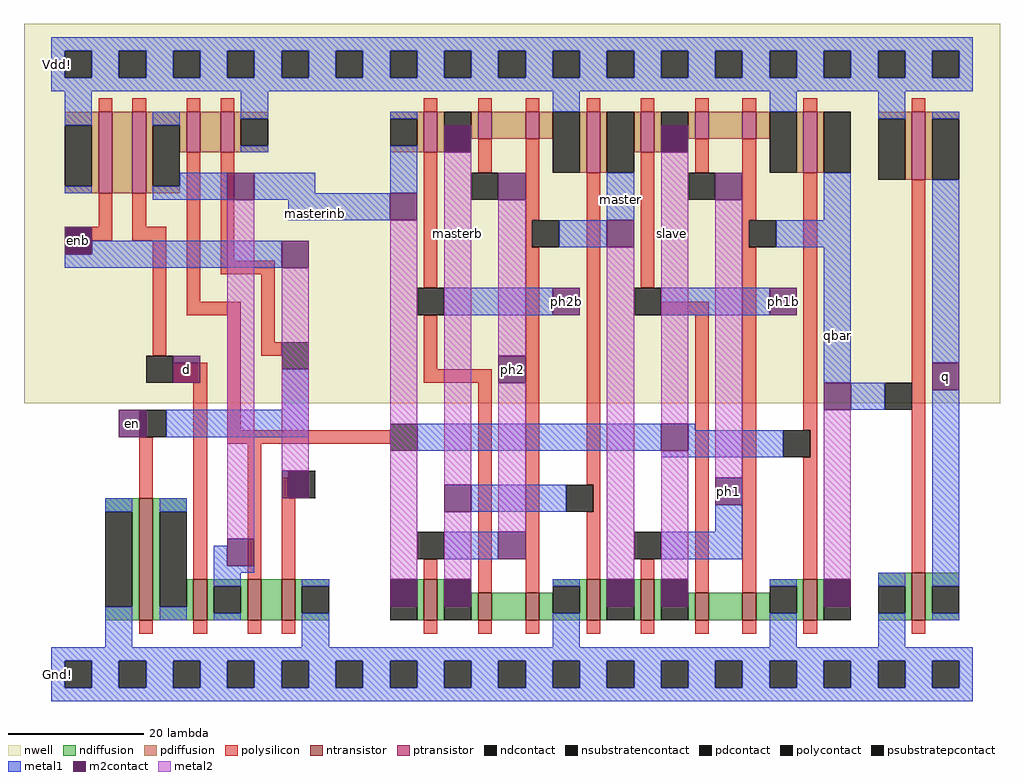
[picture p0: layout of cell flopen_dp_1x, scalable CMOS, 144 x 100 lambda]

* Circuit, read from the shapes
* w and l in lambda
.subckt flopen_dp_1x Gnd! Vdd! d en enb master masterb masterinb ph1 ph1b ph2 ph2b q qbar slave
M1 n1 en Gnd! Gnd! nfet w=18 l=2
M2 masterinb d n1 Gnd! nfet w=6 l=2
M3 n2 slave masterinb Gnd! nfet w=6 l=2
M4 Gnd! enb n2 Gnd! nfet w=6 l=2
M5 masterb ph2 masterinb Gnd! nfet w=6 l=2
M6 n3 ph2b masterb Gnd! nfet w=4 l=2
M7 Gnd! master n3 Gnd! nfet w=4 l=2
M8 master masterb Gnd! Gnd! nfet w=6 l=2
M9 slave ph1 master Gnd! nfet w=6 l=2
M10 n4 ph1b slave Gnd! nfet w=4 l=2
M11 Gnd! qbar n4 Gnd! nfet w=4 l=2
M12 qbar slave Gnd! Gnd! nfet w=6 l=2
M13 q qbar Gnd! Gnd! nfet w=7 l=2
M14 n5 enb Vdd! Vdd! pfet w=12 l=2
M15 masterinb d n5 Vdd! pfet w=12 l=2
M16 n6 slave masterinb Vdd! pfet w=6 l=2
M17 Vdd! en n6 Vdd! pfet w=6 l=2
M18 masterb ph2b masterinb Vdd! pfet w=6 l=2
M19 n7 ph2 masterb Vdd! pfet w=4 l=2
M20 Vdd! master n7 Vdd! pfet w=4 l=2
M21 master masterb Vdd! Vdd! pfet w=9 l=2
M22 slave ph1b master Vdd! pfet w=6 l=2
M23 n8 ph1 slave Vdd! pfet w=4 l=2
M24 Vdd! qbar n8 Vdd! pfet w=4 l=2
M25 qbar slave Vdd! Vdd! pfet w=9 l=2
M26 q qbar Vdd! Vdd! pfet w=10 l=2
.ends

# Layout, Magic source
magic
tech scmos
<< nwell >>
rect -6 40 138 96
<< ntransistor >>
rect 11 8 13 26
rect 19 8 21 14
rect 27 8 29 14
rect 32 8 34 14
rect 53 8 55 14
rect 61 8 63 12
rect 68 8 70 12
rect 77 8 79 14
rect 85 8 87 14
rect 93 8 95 12
rect 100 8 102 12
rect 109 8 111 14
rect 125 8 127 15
<< ptransistor >>
rect 5 71 7 83
rect 10 71 12 83
rect 18 77 20 83
rect 23 77 25 83
rect 53 77 55 83
rect 61 79 63 83
rect 68 79 70 83
rect 77 74 79 83
rect 85 77 87 83
rect 93 79 95 83
rect 100 79 102 83
rect 109 74 111 83
rect 125 73 127 83
<< ndiffusion >>
rect 6 24 11 26
rect 10 10 11 24
rect 6 8 11 10
rect 13 24 18 26
rect 13 10 14 24
rect 18 10 19 14
rect 13 8 19 10
rect 21 13 27 14
rect 21 9 22 13
rect 26 9 27 13
rect 21 8 27 9
rect 29 8 32 14
rect 34 13 39 14
rect 34 9 35 13
rect 34 8 39 9
rect 52 8 53 14
rect 55 8 56 14
rect 72 13 77 14
rect 60 8 61 12
rect 63 8 68 12
rect 70 9 72 12
rect 76 9 77 13
rect 70 8 77 9
rect 79 8 80 14
rect 84 8 85 14
rect 87 8 88 14
rect 104 13 109 14
rect 92 8 93 12
rect 95 8 100 12
rect 102 9 104 12
rect 108 9 109 13
rect 102 8 109 9
rect 111 8 112 14
rect 120 13 125 15
rect 124 9 125 13
rect 120 8 125 9
rect 127 13 132 15
rect 127 9 128 13
rect 127 8 132 9
<< pdiffusion >>
rect 0 81 5 83
rect 4 72 5 81
rect 0 71 5 72
rect 7 71 10 83
rect 12 81 18 83
rect 12 72 13 81
rect 17 77 18 81
rect 20 77 23 83
rect 25 82 30 83
rect 25 78 26 82
rect 25 77 30 78
rect 48 82 53 83
rect 52 78 53 82
rect 48 77 53 78
rect 55 77 56 83
rect 60 79 61 83
rect 63 79 68 83
rect 70 79 72 83
rect 12 71 17 72
rect 76 74 77 83
rect 79 74 80 83
rect 84 77 85 83
rect 87 77 88 83
rect 92 79 93 83
rect 95 79 100 83
rect 102 79 104 83
rect 108 74 109 83
rect 111 74 112 83
rect 120 82 125 83
rect 124 73 125 82
rect 127 82 132 83
rect 127 73 128 82
<< ndcontact >>
rect 6 10 10 24
rect 14 10 18 24
rect 22 9 26 13
rect 35 9 39 13
rect 48 8 52 14
rect 56 8 60 14
rect 72 9 76 13
rect 80 8 84 14
rect 88 8 92 14
rect 104 9 108 13
rect 112 8 116 14
rect 120 9 124 13
rect 128 9 132 13
<< pdcontact >>
rect 0 72 4 81
rect 13 72 17 81
rect 26 78 30 82
rect 48 78 52 82
rect 56 77 60 83
rect 72 74 76 83
rect 80 74 84 83
rect 88 77 92 83
rect 104 74 108 83
rect 112 74 116 83
rect 120 73 124 82
rect 128 73 132 82
<< psubstratepcontact >>
rect 0 -2 4 2
rect 8 -2 12 2
rect 16 -2 20 2
rect 24 -2 28 2
rect 32 -2 36 2
rect 40 -2 44 2
rect 48 -2 52 2
rect 56 -2 60 2
rect 64 -2 68 2
rect 72 -2 76 2
rect 80 -2 84 2
rect 88 -2 92 2
rect 96 -2 100 2
rect 104 -2 108 2
rect 112 -2 116 2
rect 120 -2 124 2
rect 128 -2 132 2
<< nsubstratencontact >>
rect 0 88 4 92
rect 8 88 12 92
rect 16 88 20 92
rect 24 88 28 92
rect 32 88 36 92
rect 40 88 44 92
rect 48 88 52 92
rect 56 88 60 92
rect 64 88 68 92
rect 72 88 76 92
rect 80 88 84 92
rect 88 88 92 92
rect 96 88 100 92
rect 104 88 108 92
rect 112 88 116 92
rect 120 88 124 92
rect 128 88 132 92
<< polysilicon >>
rect 5 83 7 85
rect 10 83 12 85
rect 18 83 20 85
rect 23 83 25 85
rect 53 83 55 85
rect 61 83 63 85
rect 68 83 70 85
rect 77 83 79 85
rect 85 83 87 85
rect 93 83 95 85
rect 100 83 102 85
rect 109 83 111 85
rect 125 83 127 85
rect 5 66 7 71
rect 4 64 7 66
rect 10 66 12 71
rect 10 64 15 66
rect 13 47 15 64
rect 18 55 20 77
rect 23 61 25 77
rect 23 59 31 61
rect 18 53 26 55
rect 16 43 21 46
rect 11 26 13 35
rect 19 14 21 43
rect 24 36 26 53
rect 29 49 31 59
rect 53 57 55 77
rect 61 74 63 79
rect 68 67 70 79
rect 68 63 69 67
rect 29 47 32 49
rect 53 45 55 53
rect 53 43 63 45
rect 24 34 48 36
rect 27 14 29 34
rect 32 26 33 29
rect 32 14 34 26
rect 53 14 55 17
rect 61 12 63 43
rect 68 12 70 63
rect 77 28 79 74
rect 85 57 87 77
rect 93 74 95 79
rect 100 67 102 79
rect 100 63 101 67
rect 88 53 95 55
rect 78 24 79 28
rect 77 14 79 24
rect 85 14 87 17
rect 93 12 95 53
rect 100 12 102 63
rect 109 36 111 74
rect 110 32 111 36
rect 109 14 111 32
rect 125 15 127 73
rect 11 6 13 8
rect 19 6 21 8
rect 27 6 29 8
rect 32 6 34 8
rect 53 6 55 8
rect 61 6 63 8
rect 68 6 70 8
rect 77 6 79 8
rect 85 6 87 8
rect 93 6 95 8
rect 100 6 102 8
rect 109 6 111 8
rect 125 6 127 8
<< polycontact >>
rect 0 62 4 66
rect 12 43 16 47
rect 11 35 15 39
rect 60 70 64 74
rect 69 63 73 67
rect 52 53 56 57
rect 32 45 36 49
rect 48 33 52 37
rect 33 26 37 30
rect 52 17 56 21
rect 92 70 96 74
rect 101 63 105 67
rect 84 53 88 57
rect 74 24 78 28
rect 84 17 88 21
rect 121 39 125 43
rect 106 32 110 36
<< metal1 >>
rect -2 92 134 94
rect -2 88 0 92
rect 4 88 8 92
rect 12 88 16 92
rect 20 88 24 92
rect 28 88 32 92
rect 36 88 40 92
rect 44 88 48 92
rect 52 88 56 92
rect 60 88 64 92
rect 68 88 72 92
rect 76 88 80 92
rect 84 88 88 92
rect 92 88 96 92
rect 100 88 104 92
rect 108 88 112 92
rect 116 88 120 92
rect 124 88 128 92
rect 132 88 134 92
rect -2 86 134 88
rect 0 81 4 86
rect 0 71 4 72
rect 13 81 17 83
rect 26 82 30 86
rect 72 83 76 86
rect 104 83 108 86
rect 26 77 30 78
rect 48 82 52 83
rect 17 72 24 74
rect 13 70 24 72
rect 28 71 37 74
rect 48 71 52 78
rect 28 70 48 71
rect 33 67 48 70
rect 80 67 84 74
rect 112 67 116 74
rect 120 82 124 86
rect 128 82 132 83
rect 4 62 32 64
rect 0 60 32 62
rect 73 63 80 67
rect 105 63 116 67
rect 56 53 72 57
rect 88 53 104 57
rect 32 39 36 45
rect 112 43 116 63
rect 128 46 132 73
rect 116 39 121 43
rect 15 35 36 39
rect 52 33 88 37
rect 92 36 93 37
rect 92 33 106 36
rect 88 32 106 33
rect 6 24 10 26
rect 6 4 10 10
rect 14 24 18 26
rect 60 24 74 28
rect 96 21 100 25
rect 14 8 18 10
rect 22 16 24 19
rect 56 17 64 21
rect 88 17 100 21
rect 22 15 28 16
rect 22 13 26 15
rect 22 8 26 9
rect 35 13 39 14
rect 35 4 39 9
rect 72 13 76 14
rect 72 4 76 9
rect 104 13 108 14
rect 104 4 108 9
rect 120 13 124 15
rect 120 4 124 9
rect 128 13 132 42
rect 128 8 132 9
rect -2 2 134 4
rect -2 -2 0 2
rect 4 -2 8 2
rect 12 -2 16 2
rect 20 -2 24 2
rect 28 -2 32 2
rect 36 -2 40 2
rect 44 -2 48 2
rect 52 -2 56 2
rect 60 -2 64 2
rect 68 -2 72 2
rect 76 -2 80 2
rect 84 -2 88 2
rect 92 -2 96 2
rect 100 -2 104 2
rect 108 -2 112 2
rect 116 -2 120 2
rect 124 -2 128 2
rect 132 -2 134 2
rect -2 -4 134 -2
<< m2contact >>
rect 24 70 28 74
rect 56 77 60 81
rect 88 77 92 81
rect 48 67 52 71
rect 64 70 68 74
rect 96 70 100 74
rect 0 62 4 66
rect 32 60 36 64
rect 80 63 84 67
rect 72 53 76 57
rect 104 53 108 57
rect 16 43 20 47
rect 64 43 68 47
rect 112 39 116 43
rect 128 42 132 46
rect 8 35 11 39
rect 11 35 12 39
rect 88 33 92 37
rect 32 26 33 30
rect 33 26 36 30
rect 56 24 60 28
rect 96 25 100 29
rect 24 16 28 20
rect 64 17 68 21
rect 48 10 52 14
rect 56 10 60 14
rect 80 10 84 14
rect 88 10 92 14
rect 112 10 116 14
<< metal2 >>
rect 24 20 28 70
rect 32 30 36 60
rect 48 14 52 67
rect 56 28 60 77
rect 56 14 60 24
rect 64 47 68 70
rect 64 21 68 43
rect 80 14 84 63
rect 88 37 92 77
rect 88 14 92 33
rect 96 29 100 70
rect 112 14 116 39
<< labels >>
rlabel m2contact 2 64 2 64 1 enb
rlabel m2contact 18 45 18 45 1 d
rlabel m2contact 10 37 10 37 1 en
rlabel metal1 -1 0 -1 0 2 Gnd!
rlabel metal1 -1 90 -1 90 3 Vdd!
rlabel m2contact 130 44 130 44 1 q
rlabel metal1 37 68 37 68 1 masterinb
rlabel metal2 58 65 58 65 1 masterb
rlabel metal1 82 70 82 70 1 master
rlabel metal2 89 65 90 65 1 slave
rlabel m2contact 98 27 98 27 1 ph1
rlabel m2contact 106 55 106 55 1 ph1b
rlabel m2contact 74 55 74 55 1 ph2b
rlabel m2contact 66 45 66 45 1 ph2
rlabel metal1 114 50 114 50 1 qbar
<< end >>
